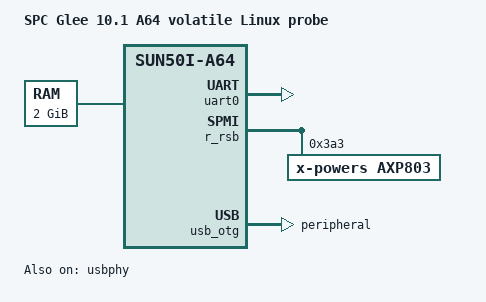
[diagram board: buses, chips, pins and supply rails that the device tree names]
// SPDX-License-Identifier: (GPL-2.0+ OR MIT)
/dts-v1/;

#include "sun50i-a64.dtsi"

/ {
	model = "SPC Glee 10.1 A64 volatile Linux probe";
	compatible = "spc,glee-10.1-a64", "allwinner,sun50i-a64";

	aliases {
		serial0 = &uart0;
	};

	chosen {
		stdout-path = "serial0:115200n8";
		bootargs = "console=ttyS0,115200 earlycon=uart8250,mmio32,0x01c28000 rdinit=/init loglevel=8 ignore_loglevel regulator_ignore_unused panic=-1";
	};

	memory@40000000 {
		device_type = "memory";
		reg = <0x40000000 0x80000000>;
	};
};

&uart0 {
	pinctrl-names = "default";
	pinctrl-0 = <&uart0_pb_pins>;
	status = "okay";
};

&r_rsb {
	status = "okay";

	axp803: pmic@3a3 {
		compatible = "x-powers,axp803";
		reg = <0x3a3>;
		interrupt-parent = <&r_intc>;
		interrupts = <GIC_SPI 32 IRQ_TYPE_LEVEL_LOW>;
	};
};

#include "axp803.dtsi"

&usb_otg {
	dr_mode = "peripheral";
	status = "okay";
};

&usbphy {
	status = "okay";
};
